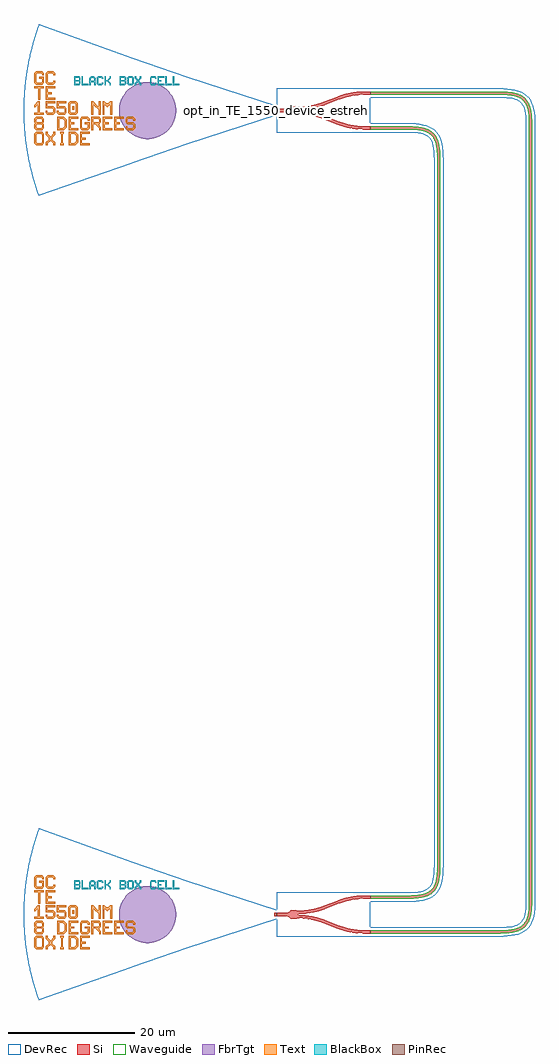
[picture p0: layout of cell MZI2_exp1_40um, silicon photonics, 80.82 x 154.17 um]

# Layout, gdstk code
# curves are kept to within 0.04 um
import gdstk
lib = gdstk.Library(unit=1e-6, precision=1e-09)
def R(c, l, rs):  # rectangles x0, y0, x1, y1
    for r in rs: c.add(gdstk.rectangle(r[:2], r[2:], *l))
def P(c, l, *ps):  # polygons
    for p in ps: c.add(gdstk.Polygon(p, *l))
Si = (1, 0)
PinRec = (1, 10)
Waveguide = (1, 99)
Text = (10, 0)
DevRec = (68, 0)
FbrTgt = (81, 0)
BlackBox = (998, 0)

waveguide_3 = lib.new_cell('Waveguide$3')
P(waveguide_3, Si, [(14.8,2.5),(14.8,3),(21.431,3.017),(22.646,3.137),(23.583,3.389),(24.269,3.784),(24.567,4.082),(24.811,4.446),(25.156,5.408),(25.324,6.728),(25.352,119.25),(25.299,120.635),(25.088,121.862),(24.696,122.743),(24.425,123.073),(24.096,123.343),(23.344,123.696),(22.492,123.887),(21.234,123.99),(14.8,124),(14.8,124.5),(21.652,124.472),(22.733,124.354),(23.635,124.125),(24.374,123.759),(24.869,123.332),(25.25,122.793),(25.568,122),(25.758,121.04),(25.843,119.897),(25.824,6.7),(25.644,5.3),(25.477,4.717),(25.249,4.206),(24.684,3.483),(24.262,3.169),(23.769,2.925),(22.732,2.645),(21.453,2.517)])
P(waveguide_3, Waveguide, [(14.8,2.5),(14.8,3),(21.431,3.017),(22.646,3.137),(23.583,3.389),(24.269,3.784),(24.567,4.082),(24.811,4.446),(25.156,5.408),(25.324,6.728),(25.352,119.25),(25.299,120.635),(25.088,121.862),(24.696,122.743),(24.425,123.073),(24.096,123.343),(23.344,123.696),(22.492,123.887),(21.234,123.99),(14.8,124),(14.8,124.5),(21.652,124.472),(22.733,124.354),(23.635,124.125),(24.374,123.759),(24.869,123.332),(25.25,122.793),(25.568,122),(25.758,121.04),(25.843,119.897),(25.824,6.7),(25.644,5.3),(25.477,4.717),(25.249,4.206),(24.684,3.483),(24.262,3.169),(23.769,2.925),(22.732,2.645),(21.453,2.517)])
P(waveguide_3, DevRec, [(14.8,2),(14.8,3.5),(21.251,3.51),(22.346,3.597),(23.497,3.895),(23.977,4.192),(24.159,4.374),(24.456,4.854),(24.676,5.556),(24.809,6.519),(24.852,7.75),(24.852,119.25),(24.81,120.48),(24.677,121.443),(24.317,122.408),(24.16,122.625),(23.761,122.964),(23.178,123.224),(22.347,123.402),(21.252,123.489),(14.8,123.5),(14.8,125),(21.953,124.953),(23.112,124.79),(24.112,124.472),(24.952,123.947),(25.3,123.599),(25.591,123.2),(26.007,122.277),(26.241,121.202),(26.342,119.951),(26.352,7.75),(26.305,6.399),(26.142,5.24),(26.006,4.722),(25.59,3.799),(24.951,3.052),(24.111,2.527),(23.111,2.209),(21.952,2.046)])
waveguide_3.add(gdstk.FlexPath([(14.81,2.75),(14.79,2.75)], 0.5, ends="flush", simple_path=True, layer=1, datatype=10))  # PinRec
waveguide_3.add(gdstk.FlexPath([(14.81,124.25),(14.79,124.25)], 0.5, ends="flush", simple_path=True, layer=1, datatype=10))  # PinRec
waveguide_3.add(gdstk.Label('opt2', (14.8,124.25), layer=1, texttype=10))
waveguide_3.add(gdstk.Label('opt1', (14.8,2.75), layer=1, texttype=10))
waveguide_3.add(gdstk.Label('Length=140.001 (microns)', (14.8,2.15), layer=68, texttype=0))
waveguide_3.add(gdstk.Label('Spice_param:wg_length=0.000140001 wg_width=5e-07 points="[[14.8,2.75],[25.602,2.75],[25.602,124.25],[14.8,124.25]]" radius=5e-06', (14.8,2.75), layer=68, texttype=0))
waveguide_3.add(gdstk.Label('waveguide_type=Strip TE 1550 nm, w=500 nm', (14.8,2.55), layer=68, texttype=0))
waveguide_3.add(gdstk.Label('cellName=Waveguide', (14.8,2.95), layer=68, texttype=0))
waveguide_3.add(gdstk.Label('Component=ebeam_wg_integral_1550', (14.8,2.85), layer=68, texttype=0))
waveguide_3.add(gdstk.Label('Lumerical_INTERCONNECT_library=Design kits/EBeam', (14.8,2.65), layer=68, texttype=0))

waveguide_1 = lib.new_cell('Waveguide$1')
P(waveguide_1, Si, [(14.8,-3),(14.8,-2.5),(35.101,-2.5),(36.83,-2.409),(37.966,-2.155),(38.405,-1.959),(38.848,-1.646),(39.195,-1.243),(39.415,-0.843),(39.714,0.206),(39.813,1.044),(39.851,2.25),(39.851,124.75),(39.812,125.957),(39.685,126.947),(39.506,127.615),(39.31,128.054),(39.066,128.418),(38.768,128.716),(38.404,128.96),(37.842,129.197),(36.486,129.447),(35.101,129.5),(14.8,129.5),(14.8,130),(35.322,129.999),(37.231,129.855),(37.994,129.673),(38.644,129.398),(39.183,129.017),(39.61,128.522),(39.925,127.918),(40.143,127.2),(40.277,126.364),(40.346,125.188),(40.351,2.25),(40.311,1.008),(40.206,0.12),(40.024,-0.643),(39.812,-1.172),(39.534,-1.63),(39.184,-2.016),(38.762,-2.33),(38.269,-2.574),(37.705,-2.755),(36.892,-2.905),(35.101,-3)])
P(waveguide_1, Waveguide, [(14.8,-3),(14.8,-2.5),(35.101,-2.5),(36.83,-2.409),(37.966,-2.155),(38.405,-1.959),(38.848,-1.646),(39.195,-1.243),(39.415,-0.843),(39.714,0.206),(39.813,1.044),(39.851,2.25),(39.851,124.75),(39.812,125.957),(39.685,126.947),(39.506,127.615),(39.31,128.054),(39.066,128.418),(38.768,128.716),(38.404,128.96),(37.842,129.197),(36.486,129.447),(35.101,129.5),(14.8,129.5),(14.8,130),(35.322,129.999),(37.231,129.855),(37.994,129.673),(38.644,129.398),(39.183,129.017),(39.61,128.522),(39.925,127.918),(40.143,127.2),(40.277,126.364),(40.346,125.188),(40.351,2.25),(40.311,1.008),(40.206,0.12),(40.024,-0.643),(39.812,-1.172),(39.534,-1.63),(39.184,-2.016),(38.762,-2.33),(38.269,-2.574),(37.705,-2.755),(36.892,-2.905),(35.101,-3)])
P(waveguide_1, DevRec, [(14.8,-3.5),(14.8,-2),(35.101,-2),(36.846,-1.902),(37.677,-1.724),(37.997,-1.604),(38.477,-1.307),(38.659,-1.125),(38.956,-0.645),(39.254,0.506),(39.351,2.25),(39.351,124.75),(39.308,125.981),(39.175,126.944),(38.815,127.909),(38.658,128.126),(38.259,128.465),(37.294,128.825),(36.331,128.958),(14.8,129),(14.8,130.5),(35.101,130.5),(37.053,130.389),(38.128,130.155),(38.61,129.973),(39.45,129.448),(39.798,129.1),(40.089,128.701),(40.505,127.778),(40.739,126.703),(40.84,125.452),(40.851,2.25),(40.74,0.298),(40.506,-0.777),(40.324,-1.259),(39.799,-2.099),(39.451,-2.447),(38.611,-2.972),(38.129,-3.154),(37.054,-3.388),(35.101,-3.5)])
waveguide_1.add(gdstk.FlexPath([(14.81,-2.75),(14.79,-2.75)], 0.5, ends="flush", simple_path=True, layer=1, datatype=10))  # PinRec
waveguide_1.add(gdstk.FlexPath([(14.81,129.75),(14.79,129.75)], 0.5, ends="flush", simple_path=True, layer=1, datatype=10))  # PinRec
waveguide_1.add(gdstk.Label('opt2', (14.8,-2.75), layer=1, texttype=10))
waveguide_1.add(gdstk.Label('opt1', (14.8,129.75), layer=1, texttype=10))
waveguide_1.add(gdstk.Label('Length=179.999 (microns)', (14.8,129.15), layer=68, texttype=0))
waveguide_1.add(gdstk.Label('waveguide_type=Strip TE 1550 nm, w=500 nm', (14.8,129.55), layer=68, texttype=0))
waveguide_1.add(gdstk.Label('cellName=Waveguide', (14.8,129.95), layer=68, texttype=0))
waveguide_1.add(gdstk.Label('Spice_param:wg_length=0.000179999 wg_width=5e-07 points="[[14.8,129.75],[40.101,129.75],[40.101,-2.75],[14.8,-2.75]]" radius=5e-06', (14.8,129.75), layer=68, texttype=0))
waveguide_1.add(gdstk.Label('Component=ebeam_wg_integral_1550', (14.8,129.85), layer=68, texttype=0))
waveguide_1.add(gdstk.Label('Lumerical_INTERCONNECT_library=Design kits/EBeam', (14.8,129.65), layer=68, texttype=0))

ebeam_y_1550 = lib.new_cell('ebeam_y_1550')
R(ebeam_y_1550, Si, [(6.5,-3,7.4,-2.5), (-7.4,-0.25,-6,0.25), (6.5,2.5,7.4,3)])
P(ebeam_y_1550, Si, [(6.458,-3),(6.237,-2.997),(6.237,-2.497),(6.5,-2.5),(6.5,-3)],
  [(2.265,-2.21),(0.055,-1.356),(0.235,-0.89),(2.445,-1.744)],
  [(5.033,-2.908),(3.59,-2.634),(2.265,-2.21),(2.445,-1.744),(3.731,-2.154),(5.033,-2.404)],
  [(-0.762,0.555),(-0.762,1.076),(0.055,1.356),(0.235,0.89)],
  [(-5.122,-0.662),(-5.442,-0.374),(-5.808,-0.255),(-6,-0.25),(-6,0.25),(-5.817,0.253),(-5.442,0.374),(-5.122,0.662)],
  [(-4.957,-0.703),(-5.122,-0.662),(-5.122,0.662),(-4.538,0.703),(-4,0.6),(-4,-0.6),(-4.509,-0.701)],
  [(0.055,-1.356),(-0.762,-1.076),(-0.762,-0.555),(0.235,-0.89)],
  [(6.237,2.497),(6.237,2.997),(6.5,3),(6.5,2.5)],
  [(-0.762,-1.076),(-2.334,-0.724),(-4,-0.6),(-4,-0.1),(-2.381,-0.212),(-0.762,-0.555)],
  [(5.033,2.404),(5.033,2.908),(6.237,2.997),(6.237,2.497)],
  [(6.233,-2.997),(5.033,-2.908),(5.033,-2.404),(6.237,-2.497)],
  [(0.235,0.89),(0.055,1.356),(2.265,2.21),(2.445,1.744)],
  [(2.445,1.744),(2.267,2.211),(3.59,2.634),(5.033,2.908),(5.033,2.404),(3.731,2.154)],
  [(-4,0.1),(-4,0.6),(-2.334,0.724),(-0.762,1.076),(-0.762,0.555),(-2.381,0.212)])
R(ebeam_y_1550, DevRec, [(-7.4,-3.5,7.4,3.5)])
ebeam_y_1550.add(gdstk.FlexPath([(7.35,-2.75),(7.45,-2.75)], 0.5, ends="flush", simple_path=True, layer=1, datatype=10))  # PinRec
ebeam_y_1550.add(gdstk.FlexPath([(7.35,2.75),(7.45,2.75)], 0.5, ends="flush", simple_path=True, layer=1, datatype=10))  # PinRec
ebeam_y_1550.add(gdstk.FlexPath([(-7.35,0),(-7.45,0)], 0.5, ends="flush", simple_path=True, layer=1, datatype=10))  # PinRec
ebeam_y_1550.add(gdstk.Label('Ref: Y Zhang, Opt. Express, 21/1, 2013', (-7.5,-1), layer=10, texttype=0))
ebeam_y_1550.add(gdstk.Label('opt1', (-7.4,0), layer=1, texttype=10))
ebeam_y_1550.add(gdstk.Label('opt3', (7.4,-2.75), layer=1, texttype=10))
ebeam_y_1550.add(gdstk.Label('opt2', (7.4,2.75), layer=1, texttype=10))
ebeam_y_1550.add(gdstk.Label('Lumerical_INTERCONNECT_library=Design kits/ebeam', (-6.86,-2.19), layer=68, texttype=0))
ebeam_y_1550.add(gdstk.Label('Component=ebeam_y_1550', (-6,1.5), layer=68, texttype=0))

text = lib.new_cell('TEXT')
P(text, BlackBox, [(13.2,0),(13.2,1.4),(14.2,1.4),(14.2,1.2),(13.4,1.2),(13.4,0.8),(13.8,0.8),(13.8,0.6),(13.4,0.6),(13.4,0.2),(14.2,0.2),(14.2,0)],
  [(9.6,0),(9.6,0.3),(9.9,0.6),(9.9,0.8),(9.6,1.1),(9.6,1.4),(9.8,1.4),(9.8,1.2),(10.1,0.9),(10.4,1.2),(10.4,1.4),(10.6,1.4),(10.6,1.1),(10.3,0.8),(10.3,0.6),(10.6,0.3),(10.6,0),(10.4,0),(10.4,0.2),(10.1,0.5),(9.8,0.2),(9.8,0)],
  [(8.6,0),(8.4,0.2),(8.4,1.2),(8.6,1.4),(9.2,1.4),(9.4,1.2),(9.4,0.7),(9.2,0.7),(9.2,1.1),(9.1,1.2),(8.7,1.2),(8.6,1.1),(8.6,0.3),(8.7,0.2),(9.1,0.2),(9.2,0.3),(9.2,0.7),(9.4,0.7),(9.4,0.2),(9.2,0)],
  [(4.8,0),(4.8,1.4),(5,1.4),(5,0.8),(5.2,0.8),(5.6,1.2),(5.6,1.4),(5.8,1.4),(5.8,1.1),(5.4,0.7),(5.8,0.3),(5.8,0),(5.6,0),(5.6,0.2),(5.2,0.6),(5,0.6),(5,0)],
  [(3.8,0),(3.6,0.2),(3.6,1.2),(3.8,1.4),(4.4,1.4),(4.6,1.2),(4.6,1),(4.4,1),(4.4,1.1),(4.3,1.2),(3.9,1.2),(3.8,1.1),(3.8,0.3),(3.9,0.2),(4.3,0.2),(4.4,0.3),(4.4,0.4),(4.6,0.4),(4.6,0.2),(4.4,0)],
  [(12.2,0),(12,0.2),(12,1.2),(12.2,1.4),(12.8,1.4),(13,1.2),(13,1),(12.8,1),(12.8,1.1),(12.7,1.2),(12.3,1.2),(12.2,1.1),(12.2,0.3),(12.3,0.2),(12.7,0.2),(12.8,0.3),(12.8,0.4),(13,0.4),(13,0.2),(12.8,0)],
  [(2.4,0),(2.4,1.1),(2.7,1.4),(3.1,1.4),(3.3,1.2),(2.8,1.2),(2.6,1),(2.6,0.7),(3.2,0.7),(3.2,1),(3,1.2),(3.3,1.2),(3.4,1.1),(3.4,0),(3.2,0),(3.2,0.5),(2.6,0.5),(2.6,0)],
  [(1.2,0),(1.2,1.4),(1.4,1.4),(1.4,0.2),(2.2,0.2),(2.2,0)],
  [(14.4,0),(14.4,1.4),(14.6,1.4),(14.6,0.2),(15.4,0.2),(15.4,0)],
  [(15.6,0),(15.6,1.4),(15.8,1.4),(15.8,0.2),(16.6,0.2),(16.6,0)],
  [(0,0),(0,1.4),(0.8,1.4),(1,1.2),(0.2,1.2),(0.2,0.8),(0.7,0.8),(0.8,0.9),(0.8,1.1),(0.7,1.2),(1,1.2),(1,0.8),(0.9,0.7),(1,0.6),(0.2,0.6),(0.2,0.2),(0.7,0.2),(0.8,0.3),(0.8,0.5),(0.7,0.6),(1,0.6),(1,0.2),(0.8,0)],
  [(7.2,0),(7.2,1.4),(8,1.4),(8.2,1.2),(7.4,1.2),(7.4,0.8),(7.9,0.8),(8,0.9),(8,1.1),(7.9,1.2),(8.2,1.2),(8.2,0.8),(8.1,0.7),(8.2,0.6),(7.4,0.6),(7.4,0.2),(7.9,0.2),(8,0.3),(8,0.5),(7.9,0.6),(8.2,0.6),(8.2,0.2),(8,0)])

gc_te_1550_8degoxide_bb = lib.new_cell('GC_TE_1550_8degOxide_BB')
R(gc_te_1550_8degoxide_bb, Si, [(-0.4,-0.25,0,0.25)])
R(gc_te_1550_8degoxide_bb, Text, [(-32.313,0.092,-32.013,0.692)])
P(gc_te_1550_8degoxide_bb, Text, [(-30.77,-3.09),(-31.07,-2.79),(-31.07,-1.29),(-30.77,-0.99),(-29.87,-0.99),(-29.57,-1.29),(-29.57,-1.59),(-29.87,-1.59),(-29.87,-1.44),(-30.02,-1.29),(-30.62,-1.29),(-30.77,-1.44),(-30.77,-2.64),(-30.62,-2.79),(-30.02,-2.79),(-29.87,-2.64),(-29.87,-2.19),(-30.32,-2.19),(-30.32,-1.89),(-29.57,-1.89),(-29.57,-2.79),(-29.87,-3.09)],
  [(-37.97,4.11),(-38.27,4.41),(-38.27,5.91),(-37.97,6.21),(-37.07,6.21),(-36.77,5.91),(-36.77,5.61),(-37.07,5.61),(-37.07,5.76),(-37.22,5.91),(-37.82,5.91),(-37.97,5.76),(-37.97,4.56),(-37.82,4.41),(-37.22,4.41),(-37.07,4.56),(-37.07,5.01),(-37.52,5.01),(-37.52,5.31),(-36.77,5.31),(-36.77,4.41),(-37.07,4.11)],
  [(-36.47,-5.49),(-36.47,-5.04),(-36.02,-4.59),(-36.02,-4.29),(-36.47,-3.84),(-36.47,-3.39),(-36.17,-3.39),(-36.17,-3.69),(-35.72,-4.14),(-35.27,-3.69),(-35.27,-3.39),(-34.97,-3.39),(-34.97,-3.84),(-35.42,-4.29),(-35.42,-4.59),(-34.97,-5.04),(-34.97,-5.49),(-35.27,-5.49),(-35.27,-5.19),(-35.72,-4.74),(-36.17,-5.19),(-36.17,-5.49)],
  [(-37.67,1.71),(-37.67,3.51),(-38.27,3.51),(-38.27,3.81),(-36.77,3.81),(-36.77,3.51),(-37.37,3.51),(-37.37,1.71)],
  [(-37.97,-5.49),(-38.27,-5.19),(-38.27,-3.69),(-37.97,-3.39),(-37.07,-3.39),(-36.77,-3.69),(-36.77,-4.44),(-37.07,-4.44),(-37.07,-3.84),(-37.22,-3.69),(-37.82,-3.69),(-37.97,-3.84),(-37.97,-5.04),(-37.82,-5.19),(-37.22,-5.19),(-37.07,-5.04),(-37.07,-4.44),(-36.77,-4.44),(-36.77,-5.19),(-37.07,-5.49)],
  [(-31.07,-5.49),(-31.07,-3.39),(-29.57,-3.39),(-29.57,-3.69),(-30.77,-3.69),(-30.77,-4.29),(-30.17,-4.29),(-30.17,-4.59),(-30.77,-4.59),(-30.77,-5.19),(-29.57,-5.19),(-29.57,-5.49)],
  [(-32.87,-3.09),(-32.87,-0.99),(-31.37,-0.99),(-31.37,-1.29),(-32.57,-1.29),(-32.57,-1.89),(-31.97,-1.89),(-31.97,-2.19),(-32.57,-2.19),(-32.57,-2.79),(-31.37,-2.79),(-31.37,-3.09)],
  [(-27.47,-3.09),(-27.47,-0.99),(-25.97,-0.99),(-25.97,-1.29),(-27.17,-1.29),(-27.17,-1.89),(-26.57,-1.89),(-26.57,-2.19),(-27.17,-2.19),(-27.17,-2.79),(-25.97,-2.79),(-25.97,-3.09)],
  [(-25.67,-3.09),(-25.67,-0.99),(-24.17,-0.99),(-24.17,-1.29),(-25.37,-1.29),(-25.37,-1.89),(-24.77,-1.89),(-24.77,-2.19),(-25.37,-2.19),(-25.37,-2.79),(-24.17,-2.79),(-24.17,-3.09)],
  [(-36.47,1.71),(-36.47,3.81),(-34.97,3.81),(-34.97,3.51),(-36.17,3.51),(-36.17,2.91),(-35.57,2.91),(-35.57,2.61),(-36.17,2.61),(-36.17,2.01),(-34.97,2.01),(-34.97,1.71)],
  [(-29.313,-0.658),(-29.313,1.442),(-29.013,1.442),(-28.263,0.692),(-28.113,0.692),(-28.113,1.442),(-27.813,1.442),(-27.813,-0.658),(-28.113,-0.658),(-28.113,0.092),(-28.863,0.842),(-29.013,0.842),(-29.013,-0.658)],
  [(-34.22,-5.49),(-34.22,-5.19),(-34.07,-5.19),(-34.07,-3.69),(-34.22,-3.69),(-34.22,-3.39),(-33.62,-3.39),(-33.62,-3.69),(-33.77,-3.69),(-33.77,-5.19),(-33.62,-5.19),(-33.62,-5.49)],
  [(-36.17,4.11),(-36.47,4.41),(-36.47,5.91),(-36.17,6.21),(-35.27,6.21),(-34.97,5.91),(-34.97,5.61),(-35.27,5.61),(-35.27,5.76),(-35.42,5.91),(-36.02,5.91),(-36.17,5.76),(-36.17,4.56),(-36.02,4.41),(-35.42,4.41),(-35.27,4.56),(-35.27,4.71),(-34.97,4.71),(-34.97,4.41),(-35.27,4.11)],
  [(-27.513,-0.658),(-27.513,1.442),(-27.213,1.442),(-26.913,1.142),(-26.613,1.142),(-26.313,1.442),(-26.013,1.442),(-26.013,-0.658),(-26.313,-0.658),(-26.313,0.842),(-26.463,0.842),(-26.763,0.542),(-27.063,0.842),(-27.213,0.842),(-27.213,-0.658)],
  [(-29.27,-3.09),(-29.27,-0.99),(-28.07,-0.99),(-27.77,-1.29),(-28.97,-1.29),(-28.97,-1.89),(-28.22,-1.89),(-28.07,-1.74),(-28.07,-1.44),(-28.22,-1.29),(-27.77,-1.29),(-27.77,-1.89),(-28.07,-2.19),(-28.07,-2.34),(-27.77,-2.64),(-27.77,-3.09),(-28.07,-3.09),(-28.07,-2.79),(-28.67,-2.19),(-28.97,-2.19),(-28.97,-3.09)],
  [(-32.613,-0.658),(-32.913,-0.358),(-32.913,1.142),(-32.613,1.442),(-31.713,1.442),(-31.413,1.142),(-32.463,1.142),(-32.613,0.992),(-32.613,-0.208),(-32.463,-0.358),(-31.863,-0.358),(-31.713,-0.208),(-31.713,0.992),(-31.863,1.142),(-31.413,1.142),(-31.413,-0.358),(-31.713,-0.658)],
  [(-37.97,-3.09),(-38.27,-2.79),(-38.27,-2.19),(-38.12,-2.04),(-38.27,-1.89),(-38.27,-1.29),(-37.97,-0.99),(-37.07,-0.99),(-36.77,-1.29),(-37.82,-1.29),(-37.97,-1.44),(-37.97,-1.74),(-37.82,-1.89),(-37.22,-1.89),(-37.07,-1.74),(-37.07,-1.44),(-37.22,-1.29),(-36.77,-1.29),(-36.77,-1.89),(-36.92,-2.04),(-36.77,-2.19),(-37.82,-2.19),(-37.97,-2.34),(-37.97,-2.64),(-37.82,-2.79),(-37.22,-2.79),(-37.07,-2.64),(-37.07,-2.34),(-37.22,-2.19),(-36.77,-2.19),(-36.77,-2.79),(-37.07,-3.09)],
  [(-32.87,-5.49),(-32.87,-3.39),(-31.82,-3.39),(-31.52,-3.69),(-32.57,-3.69),(-32.57,-5.19),(-31.97,-5.19),(-31.67,-4.89),(-31.67,-3.99),(-31.97,-3.69),(-31.52,-3.69),(-31.37,-3.84),(-31.37,-5.04),(-31.82,-5.49)],
  [(-34.67,-3.09),(-34.67,-0.99),(-33.62,-0.99),(-33.32,-1.29),(-34.37,-1.29),(-34.37,-2.79),(-33.77,-2.79),(-33.47,-2.49),(-33.47,-1.59),(-33.77,-1.29),(-33.32,-1.29),(-33.17,-1.44),(-33.17,-2.64),(-33.62,-3.09)],
  [(-36.213,-0.658),(-36.513,-0.358),(-36.513,-0.058),(-36.213,-0.058),(-36.213,-0.208),(-36.063,-0.358),(-35.463,-0.358),(-35.313,-0.208),(-35.313,0.242),(-35.463,0.392),(-36.513,0.392),(-36.513,1.442),(-35.013,1.442),(-35.013,1.142),(-36.213,1.142),(-36.213,0.692),(-35.313,0.692),(-35.013,0.392),(-35.013,-0.358),(-35.313,-0.658)],
  [(-34.413,-0.658),(-34.713,-0.358),(-34.713,-0.058),(-34.413,-0.058),(-34.413,-0.208),(-34.263,-0.358),(-33.663,-0.358),(-33.513,-0.208),(-33.513,0.242),(-33.663,0.392),(-34.713,0.392),(-34.713,1.442),(-33.213,1.442),(-33.213,1.142),(-34.413,1.142),(-34.413,0.692),(-33.513,0.692),(-33.213,0.392),(-33.213,-0.358),(-33.513,-0.658)],
  [(-23.57,-3.09),(-23.87,-2.79),(-23.87,-2.49),(-23.57,-2.49),(-23.57,-2.64),(-23.42,-2.79),(-22.82,-2.79),(-22.67,-2.64),(-22.67,-2.34),(-22.82,-2.19),(-23.57,-2.19),(-23.87,-1.89),(-23.87,-1.29),(-23.57,-0.99),(-22.67,-0.99),(-22.37,-1.29),(-22.37,-1.59),(-22.67,-1.59),(-22.67,-1.44),(-22.82,-1.29),(-23.42,-1.29),(-23.57,-1.44),(-23.57,-1.74),(-23.42,-1.89),(-22.67,-1.89),(-22.37,-2.19),(-22.37,-2.79),(-22.67,-3.09)],
  [(-38.313,-0.658),(-38.313,-0.358),(-37.713,-0.358),(-37.713,0.842),(-37.863,0.842),(-38.163,0.542),(-38.313,0.542),(-38.313,0.842),(-37.713,1.442),(-37.413,1.442),(-37.413,-0.358),(-36.813,-0.358),(-36.813,-0.658)])
P(gc_te_1550_8degoxide_bb, DevRec, [(-37.607,-13.5),(-38.627,-10.245),(-39.378,-6.832),(-39.647,-5.058),(-39.835,-3.274),(-39.969,0.224),(-39.812,3.541),(-39.331,7.097),(-38.557,10.505),(-37.546,13.669),(-22.8,8.353),(-14.109,5.36),(0,0.75),(0,-0.75),(-14.109,-5.36)])
P(gc_te_1550_8degoxide_bb, FbrTgt, [(-20.621,-4.5),(-21.495,-4.37),(-22.326,-4.073),(-23.084,-3.619),(-23.738,-3.026),(-24.264,-2.316),(-24.642,-1.518),(-24.857,-0.661),(-24.9,0.221),(-24.77,1.095),(-24.473,1.926),(-24.019,2.684),(-23.426,3.338),(-22.716,3.864),(-21.918,4.242),(-21.061,4.457),(-20.179,4.5),(-19.305,4.37),(-18.474,4.073),(-17.716,3.619),(-17.062,3.026),(-16.536,2.316),(-16.158,1.518),(-15.943,0.661),(-15.9,-0.221),(-16.03,-1.095),(-16.327,-1.926),(-16.781,-2.684),(-17.374,-3.338),(-18.084,-3.864),(-18.882,-4.242),(-19.739,-4.457)])
gc_te_1550_8degoxide_bb.add(gdstk.FlexPath([(-0.01,0),(0.01,0)], 0.5, ends="flush", simple_path=True, layer=1, datatype=10))  # PinRec
gc_te_1550_8degoxide_bb.add(gdstk.Reference(text, (-32,4)))
gc_te_1550_8degoxide_bb.add(gdstk.Label('opt1', (0,0), layer=1, texttype=10))
gc_te_1550_8degoxide_bb.add(gdstk.Label('Component=GC_TE_1550_8degOxide_BB', (-28,-5), layer=68, texttype=0))
gc_te_1550_8degoxide_bb.add(gdstk.Label('Lumerical_INTERCONNECT_library=Design kits/ebeam', (-29,-7), layer=68, texttype=0))

mzi2_exp1_40um = lib.new_cell('MZI2_exp1_40um')
mzi2_exp1_40um.add(gdstk.Reference(waveguide_3, (39.969,-140.669)))
mzi2_exp1_40um.add(gdstk.Reference(waveguide_1, (39.969,-140.669)))
mzi2_exp1_40um.add(gdstk.Reference(ebeam_y_1550, (47.369,-140.669)))
mzi2_exp1_40um.add(gdstk.Reference(ebeam_y_1550, (47.369,-13.669)))
mzi2_exp1_40um.add(gdstk.Reference(gc_te_1550_8degoxide_bb, (39.969,-140.669)))
mzi2_exp1_40um.add(gdstk.Reference(gc_te_1550_8degoxide_bb, (39.969,-13.669)))
mzi2_exp1_40um.add(gdstk.Label('opt_in_TE_1550_device_estrehlo_MZI2', (39.969,-13.669), layer=10, texttype=0))

lib.write_gds('MZI2_exp1_40um.gds')
